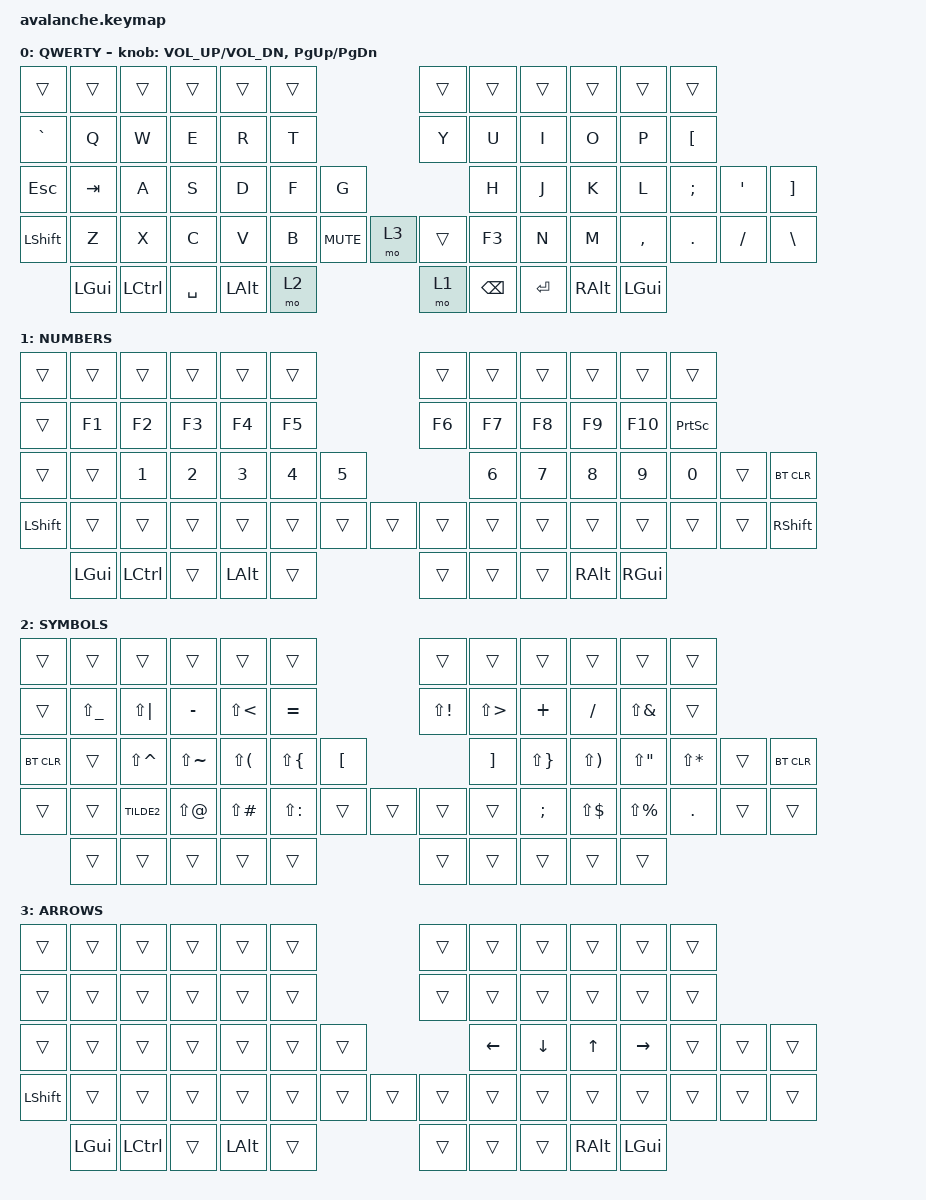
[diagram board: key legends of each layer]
#include <behaviors.dtsi>
#include <dt-bindings/zmk/bt.h>
#include <dt-bindings/zmk/keys.h>

/ {
    behaviors {
        bhm: balanced_homerow_mods {
            compatible = "zmk,behavior-hold-tap";
            label = "HOMEROW_MODS";
            #binding-cells = <2>;
            tapping-term-ms = <200>;

            // <---[[moderate duration]]

            quick-tap-ms = <0>;
            flavor = "balanced";
            bindings = <&kp>, <&kp>;
        };

        hm: homerow_mods {
            compatible = "zmk,behavior-hold-tap";
            label = "HOMEROW_MODS";
            #binding-cells = <2>;
            tapping-term-ms = <250>;
            flavor = "tap-preferred";
            bindings = <&kp>, <&kp>;
        };
    };

    keymap {
        compatible = "zmk,keymap";

        /*
        &trans  &trans  &trans  &trans  &trans  &trans                                   &trans  &trans  &trans  &trans  &trans  &trans
// ------------------------------------------------------------------------------------------------------------------------------------------------------------------------------------
        &trans  &trans  &trans  &trans  &trans  &trans                                   &trans  &trans  &trans  &trans  &trans  &trans
// ------------------------------------------------------------------------------------------------------------------------------------------------------------------------------------
&trans  &trans  &trans  &trans  &trans  &trans  &trans                                   &trans  &trans  &trans  &trans  &trans  &trans  &trans
// ------------------------------------------------------------------------------------------------------------------------------------------------------------------------------------
        &trans  &trans  &trans  &trans  &trans  &trans  &trans  &trans    &trans &trans  &trans  &trans  &trans  &trans  &trans  &trans
// ------------------------------------------------------------------------------------------------------------------------------------------------------------------------------------
                                &trans  &trans  &trans  &trans  &trans    &trans &trans  &trans  &trans  &trans
*/

        QWERTY {
            bindings = <
&trans     &trans    &trans     &trans     &trans    &trans                     &trans  &trans    &trans   &trans    &trans     &trans
&kp GRAVE  &kp Q     &kp W      &kp E      &kp R     &kp T                      &kp Y   &kp U     &kp I    &kp O     &kp P      &kp LBKT
&kp ESC    &kp TAB   &kp A      &kp S      &kp D     &kp F   &kp G                      &kp H     &kp J    &kp K     &kp L      &kp SEMI  &kp SQT   &kp RIGHT_BRACKET
&kp LSHFT  &kp Z     &kp X      &kp C      &kp V     &kp B   &kp C_MUTE  &mo 3  &trans  &kp F3    &kp N    &kp M     &kp COMMA  &kp DOT   &kp FSLH  &kp BSLH
           &kp LGUI  &kp LCTRL  &kp SPACE  &kp LALT  &mo 2                      &mo 1   &kp BSPC  &kp RET  &kp RALT  &kp LGUI
            >;
            sensor-bindings = <&inc_dec_kp C_VOL_UP C_VOL_DN &inc_dec_kp PG_UP PG_DN>;
        };

        NUMBERS {
            bindings = <
&trans          &trans        &trans     &trans  &trans    &trans                  &trans  &trans  &trans  &trans    &trans    &trans
&trans          &kp F1        &kp F2     &kp F3  &kp F4    &kp F5                  &kp F6  &kp F7  &kp F8  &kp F9    &kp F10   &kp PRINTSCREEN
&trans          &trans        &kp N1     &kp N2  &kp N3    &kp N4  &kp N5                  &kp N6  &kp N7  &kp N8    &kp N9    &kp N0           &trans  &bt BT_CLR
&kp LEFT_SHIFT  &trans        &trans     &trans  &trans    &trans  &trans  &trans  &trans  &trans  &trans  &trans    &trans    &trans           &trans  &kp RSHIFT
                &kp LEFT_GUI  &kp LCTRL  &trans  &kp LALT  &trans                  &trans  &trans  &trans  &kp RALT  &kp RGUI
            >;
        };

        SYMBOLS {
            bindings = <
&trans      &trans         &trans         &trans         &trans         &trans                           &trans        &trans      &trans        &trans        &trans         &trans
&trans      &kp LS(UNDER)  &kp LS(PIPE)   &kp MINUS      &kp LS(LT)     &kp EQUAL                        &kp LS(EXCL)  &kp LS(GT)  &kp PLUS      &kp FSLH      &kp LS(AMPS)   &trans
&bt BT_CLR  &trans         &kp LS(CARET)  &kp LS(TILDE)  &kp LS(LPAR)   &kp LS(LBRC)   &kp LBKT                        &kp RBKT    &kp LS(RBRC)  &kp LS(RPAR)  &kp LS(DQT)    &kp LS(STAR)  &trans  &bt BT_CLR
&trans      &trans         &kp TILDE2     &kp LS(AT)     &kp LS(POUND)  &kp LS(COLON)  &trans    &trans  &trans        &trans      &kp SEMI      &kp LS(DLLR)  &kp LS(PRCNT)  &kp DOT       &trans  &trans
            &trans         &trans         &trans         &trans         &trans                           &trans        &trans      &trans        &trans        &trans
            >;
        };

        ARROWS {
            bindings = <
&trans     &trans    &trans     &trans  &trans    &trans                  &trans  &trans    &trans    &trans    &trans     &trans
&trans     &trans    &trans     &trans  &trans    &trans                  &trans  &trans    &trans    &trans    &trans     &trans
&trans     &trans    &trans     &trans  &trans    &trans  &trans                  &kp LEFT  &kp DOWN  &kp UP    &kp RIGHT  &trans  &trans  &trans
&kp LSHFT  &trans    &trans     &trans  &trans    &trans  &trans  &trans  &trans  &trans    &trans    &trans    &trans     &trans  &trans  &trans
           &kp LGUI  &kp LCTRL  &trans  &kp LALT  &trans                  &trans  &trans    &trans    &kp RALT  &kp LGUI
            >;
        };
    };
};
